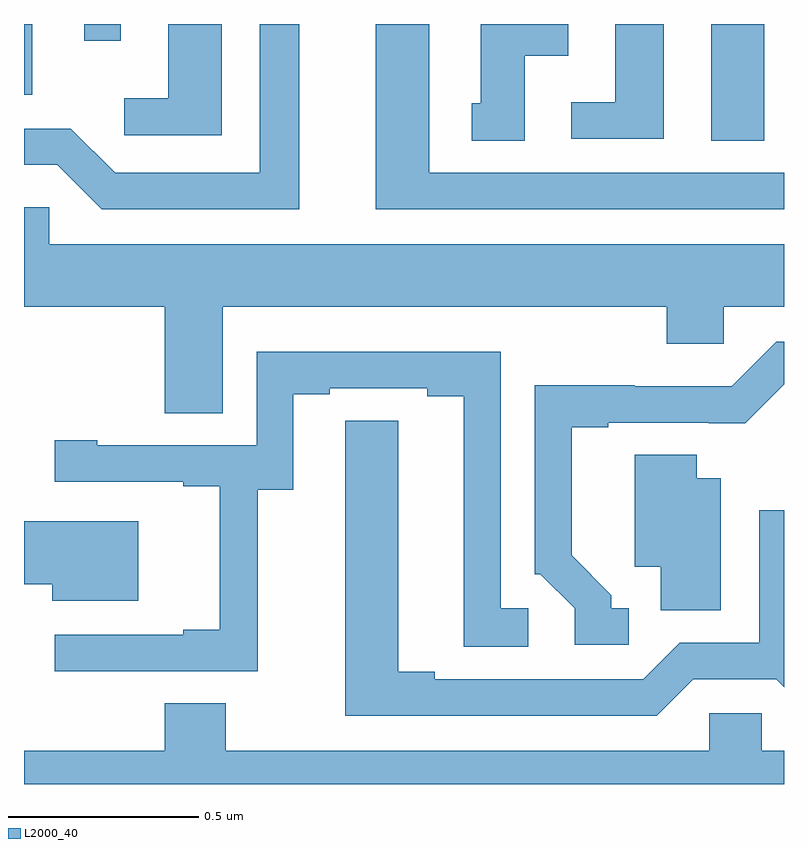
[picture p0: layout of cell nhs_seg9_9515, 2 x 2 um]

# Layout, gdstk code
import gdstk
lib = gdstk.Library(unit=1e-6, precision=1e-09)
def R(c, l, rs):  # rectangles x0, y0, x1, y1
    for r in rs: c.add(gdstk.rectangle(r[:2], r[2:], *l))
def P(c, l, *ps):  # polygons
    for p in ps: c.add(gdstk.Polygon(p, *l))
L2000_40 = (2000, 40)

nhs_seg9_9515 = lib.new_cell('nhs_seg9_9515')
R(nhs_seg9_9515, L2000_40, [(232.808,1194.193,232.948,1194.5), (231,1194.314,231.022,1194.5), (231.158,1194.456,231.255,1194.5)])
P(nhs_seg9_9515, L2000_40, [(232.684,1194.5),(232.556,1194.5),(232.556,1194.294),(232.44,1194.294),(232.44,1194.198),(232.684,1194.198)],
  [(232.318,1194.416),(232.432,1194.416),(232.432,1194.5),(232.202,1194.5),(232.202,1194.291),(232.178,1194.291),(232.178,1194.193),(232.318,1194.193)],
  [(233,1194.108),(232.066,1194.108),(232.066,1194.5),(231.926,1194.5),(231.926,1194.012),(233,1194.012)],
  [(231.52,1194.5),(231.38,1194.5),(231.38,1194.304),(231.264,1194.304),(231.264,1194.207),(231.52,1194.207)],
  [(231.724,1194.5),(231.62,1194.5),(231.62,1194.108),(231.24,1194.108),(231.123,1194.225),(231,1194.225),(231,1194.129),(231.087,1194.129),(231.204,1194.012),(231.724,1194.012)],
  [(231.523,1193.756),(232.691,1193.756),(232.691,1193.658),(232.842,1193.658),(232.842,1193.756),(233,1193.756),(233,1193.92),(231.066,1193.92),(231.066,1194.018),(231,1194.018),(231,1193.756),(231.371,1193.756),(231.371,1193.476),(231.523,1193.476)],
  [(232.591,1192.962),(232.546,1192.962),(232.546,1192.997),(232.441,1193.102),(232.441,1193.439),(232.537,1193.439),(232.537,1193.451),(232.802,1193.451),(232.802,1193.45),(232.898,1193.45),(233,1193.552),(233,1193.664),(232.98,1193.664),(232.863,1193.547),(232.607,1193.547),(232.607,1193.549),(232.344,1193.549),(232.344,1193.052),(232.359,1193.052),(232.449,1192.962),(232.449,1192.866),(232.591,1192.866)],
  [(231.615,1193.275),(231.709,1193.275),(231.709,1193.526),(231.805,1193.526),(231.805,1193.541),(232.061,1193.541),(232.061,1193.521),(232.157,1193.521),(232.157,1192.861),(232.327,1192.861),(232.327,1192.962),(232.254,1192.962),(232.254,1193.637),(231.612,1193.637),(231.612,1193.391),(231.193,1193.391),(231.193,1193.404),(231.081,1193.404),(231.081,1193.295),(231.419,1193.295),(231.419,1193.283),(231.515,1193.283),(231.515,1192.906),(231.419,1192.906),(231.419,1192.893),(231.081,1192.893),(231.081,1192.797),(231.615,1192.797)],
  [(232.761,1192.776),(232.979,1192.776),(233,1192.755),(233,1193.221),(232.935,1193.221),(232.935,1192.872),(232.725,1192.872),(232.629,1192.776),(232.081,1192.776),(232.081,1192.796),(231.985,1192.796),(231.985,1193.456),(231.846,1193.456),(231.846,1193.348),(231.845,1193.348),(231.845,1192.68),(232.665,1192.68)],
  [(232.834,1193.305),(232.771,1193.305),(232.771,1193.366),(232.607,1193.366),(232.607,1193.072),(232.676,1193.072),(232.676,1192.957),(232.834,1192.957)],
  [(231.301,1193.191),(231,1193.191),(231,1193.026),(231.074,1193.026),(231.074,1192.982),(231.301,1192.982)],
  [(233,1192.588),(232.941,1192.588),(232.941,1192.686),(232.803,1192.686),(232.803,1192.588),(231.531,1192.588),(231.531,1192.712),(231.371,1192.712),(231.371,1192.588),(231,1192.588),(231,1192.5),(233,1192.5)])

lib.write_gds('nhs_seg9_9515.gds')
